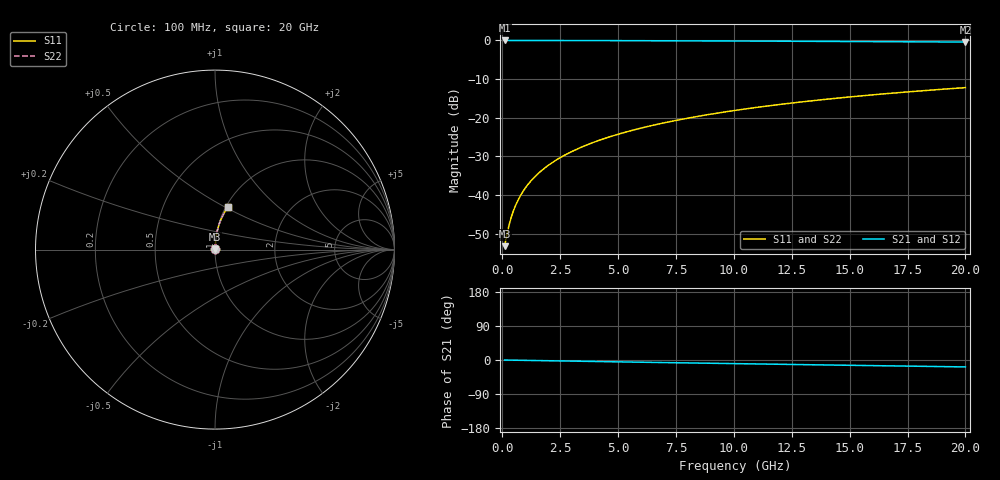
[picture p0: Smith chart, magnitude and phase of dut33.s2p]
! Touchstone file exported from HFSS 2024.1.0
!  File:  C:/UserFiles/LocalFiles/RDL_TSV_Batchsim/temp_RDL_top_33_1778680663.aedt
!  Generated:  09:59:58 PM May 13, 2026
!  Design:  RDL_top
!  Project:  temp_RDL_top_33_1778680663
!  Setup:  Setup1
!  Solution:  Sweep
! Variables:
!  dtsv = 10.80580581um
!  hbump = 3um
!  htsv = 77.41um
!  ldown = 100um
!  lrdl = 173.69um
!  p = 40
!  p1 = 56.68um
!  rhole = 1um
!  t = 450um
!  tdown = 3.915915916um
!  trdl = 2.81um
!  wdown = 15.38538539um
!  wrdl = 13.96um
# GHz S MA R 50.000000
! Terminal data exported
! Port[1] = Box2_T1
! Port[2] = Box2_T2
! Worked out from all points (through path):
!   200 points, 100 MHz to 20 GHz, reference 50 ohm
!   highest |S21| = -0.02 dB at 100 MHz (marker M1); lowest = -0.4 dB at 20 GHz (marker M2)
!   group delay of S21, straight-line fit = 2.53 ps
!   lowest |S11| = -53.2 dB at 100 MHz (marker M3), VSWR 1.00, Z = 50.2 + j0.126 ohm
!   |S11| at or under -10 dB: start of sweep to end of sweep
!   |S22| runs from -53.2 to -12.2 dB; largest |S21 - S12| = 4.2e-15
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0.1  0.002186 35.1  0.9982 -0.1  0.9982 -0.1  0.002186 35.1
! Gamma 0 0 0 0
! Port Impedance 50 0 50 0
0.2  0.003093 54.1  0.9982 -0.2  0.9982 -0.2  0.003093 54.1
0.3  0.004176 63.8  0.9981 -0.3  0.9981 -0.3  0.004176 63.8
0.4  0.005321 69.2  0.9981 -0.4  0.9981 -0.4  0.005321 69.2
0.5  0.006488 72.7  0.998 -0.5  0.998 -0.5  0.006488 72.7
0.6  0.007666 75.1  0.998 -0.6  0.998 -0.6  0.007666 75.1
0.8  0.01003 78.2  0.9979 -0.8  0.9979 -0.8  0.01003 78.2
1.1  0.0136 80.9  0.9977 -1.1  0.9977 -1.1  0.0136 80.9
1.5  0.01839 82.8  0.9975 -1.5  0.9975 -1.5  0.01839 82.8
1.8  0.022 83.6  0.9972 -1.8  0.9972 -1.8  0.022 83.6
2.1  0.02562 84.2  0.997 -2.1  0.997 -2.1  0.02562 84.2
2.7  0.0329 84.9  0.9964 -2.7  0.9964 -2.7  0.0329 84.9
3.5  0.04266 85.2  0.9954 -3.5  0.9954 -3.5  0.04266 85.2
4.2  0.05126 85.2  0.9944 -4.1  0.9944 -4.1  0.05126 85.2
5  0.06115 85.0  0.9931 -4.9  0.9931 -4.9  0.06115 85.0
5.9  0.07234 84.7  0.9914 -5.8  0.9914 -5.8  0.07234 84.7
6.8  0.08358 84.2  0.9896 -6.6  0.9896 -6.6  0.08358 84.2
8.3  0.1024 83.2  0.9862 -8.0  0.9862 -8.0  0.1024 83.2
10.1  0.125 81.9  0.9817 -9.7  0.9817 -9.7  0.125 81.9
13.4  0.1661 79.1  0.9727 -12.6  0.9727 -12.6  0.1661 79.1
16.7  0.2062 76.3  0.9626 -15.5  0.9626 -15.5  0.2062 76.3
20  0.2451 73.4  0.9517 -18.3  0.9517 -18.3  0.2451 73.4
